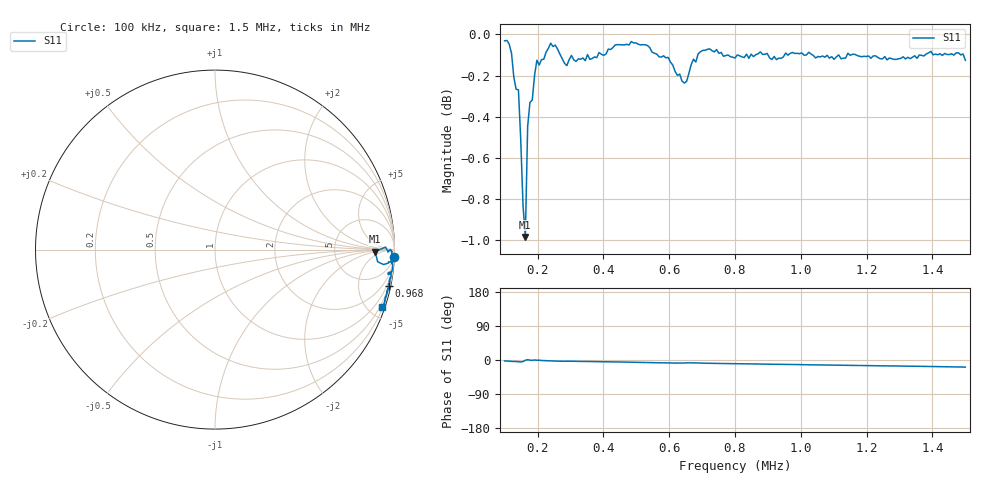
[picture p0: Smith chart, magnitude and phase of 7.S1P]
!Agilent Technologies,E5071C,MY46100305,A.07.02
!Date: Fri Jan 01 01:39:03 1988
!Data & Calibration Information:
!Freq	S11:SOLT1(ON)
# Hz S MA R 50
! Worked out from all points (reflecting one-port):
!   201 points, 100 kHz to 1.5 MHz, reference 50 ohm
!   lowest |S11| = -1.0 dB at 163 kHz (marker M1), VSWR 17.65, Z = 871 - j102 ohm
!   phase of S11 starts at -3 deg and turns -16 deg over the sweep
!   S11 on the Smith chart (normalised r, x): 100 kHz: 4, -45; 968 kHz: 0.50, -9.70; 1.5 MHz: 0.27, -6.03
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100000  0.9964 -2.5
114000  0.9946 -3.2
128000  0.9763 -4.1
142000  0.9695 -4.4
149000  0.9427 -5.1
156000  0.9086 -4.3
163000  0.8928 -0.8
170000  0.9497 0.9
177000  0.9626 -0.5
184000  0.9639 -0.8
191000  0.9772 0.1
198000  0.9856 -0.7
205000  0.983 -0.6
212000  0.986 -1.3
240000  0.9951 -2.3
275000  0.9864 -3.4
296000  0.9859 -3.2
450000  0.9942 -5.2
534000  0.9938 -6.8
625000  0.9773 -8.0
660000  0.9785 -7.4
702000  0.9911 -8.2
800000  0.9869 -9.8
968000  0.9895 -11.7
975000  0.9899 -11.9
1150000  0.9884 -14.1
1325000  0.9872 -16.3
1500000  0.9856 -18.8
